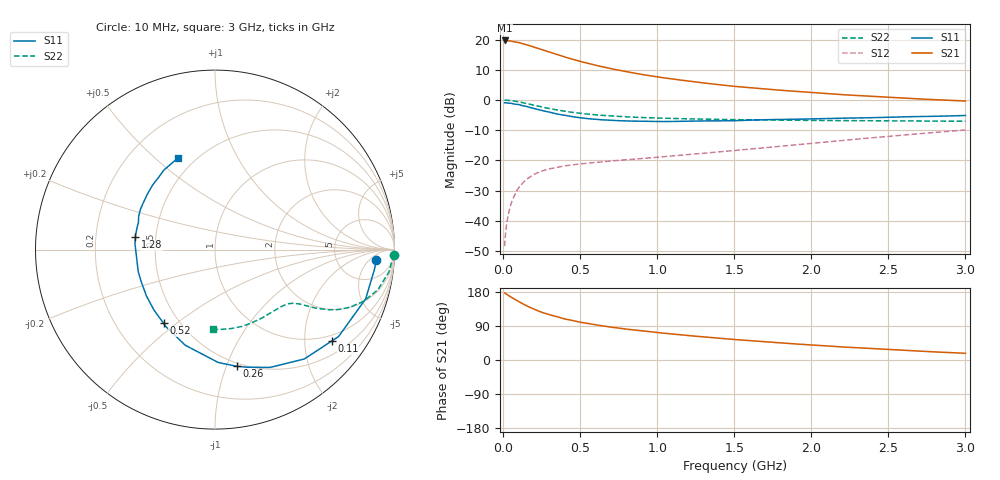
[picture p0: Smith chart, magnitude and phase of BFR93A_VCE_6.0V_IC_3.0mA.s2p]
! Infineon Technologies  Discrete & RF Semiconductors
! BFR93A
! VCE =  6.0 V,  IC =  3.0 mA
! Common Emitter S-Parameters:  Nov 2015
# GHz  S  MA  R  50
!  f  S11  S21  S12  S22
! GHz  MAG  ANG  MAG  ANG  MAG  ANG  MAG  ANG
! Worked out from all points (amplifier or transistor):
!   180 points, 10 MHz to 3 GHz, reference 50 ohm
!   highest |S21| = 19.7 dB at 10 MHz (marker M1)
!   |S21| within 3 dB of that: start of sweep to 249.1 MHz
!   unconditionally stable (mu >= 1): 894.4 MHz to 2.506 GHz
!   at 160 MHz: K = 0.24, MSG = 22.1 dB, |S12| = -26.0 dB
!   at 1.22 GHz: K = 1.12, MAG = 10.0 dB, |S12| = -18.0 dB
!   at 3 GHz: K = 0.91, MSG = 4.8 dB, |S12| = -10.0 dB
!   S11 on the Smith chart (normalised r, x): 10 MHz: 14, -9; 110 MHz: 0.83, -2.67; 260 MHz: 0.47, -1.09; 520 MHz: 0.41, -0.45; 1.28 GHz: 0.38, +0.07; 3 GHz: 0.41, +0.60
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0.01  0.9005 -3.7  9.653 177.1  0.0038 89.6  0.9949 -1.6
0.025  0.8909 -8.9  9.585 173.0  0.0094 83.8  0.9884 -3.7
0.05  0.8832 -18.1  9.442 166.3  0.0185 80.2  0.9767 -7.4
0.1  0.8419 -35.1  8.939 154.4  0.0349 71.7  0.9342 -13.9
0.11  0.8261 -38.1  8.775 152.3  0.0375 69.7  0.922 -14.9
0.15  0.7866 -50.8  8.246 143.2  0.0481 63.8  0.8763 -19.2
0.185  0.7384 -60.4  7.725 136.9  0.0554 59.7  0.836 -21.8
0.2  0.7247 -64.9  7.532 134.0  0.0586 58.2  0.8193 -23.0
0.26  0.6614 -79.4  6.693 124.6  0.0676 53.0  0.7558 -26.3
0.3  0.6296 -88.3  6.199 119.3  0.0723 50.6  0.7191 -27.8
0.4  0.558 -107.3  5.128 108.3  0.0811 46.7  0.6481 -30.2
0.5  0.5091 -122.4  4.342 99.7  0.0874 44.8  0.6003 -31.5
0.52  0.501 -124.9  4.219 98.5  0.0884 44.7  0.5935 -31.7
0.6  0.4784 -135.4  3.75 92.7  0.0925 44.5  0.5663 -32.5
0.7  0.461 -146.1  3.291 86.7  0.0977 45.1  0.5432 -33.6
0.8  0.4495 -155.5  2.935 81.4  0.1022 46.1  0.5254 -34.7
1.02  0.439 -172.7  2.368 71.7  0.1137 48.8  0.5004 -37.6
1.28  0.4489 171.1  1.942 61.6  0.1296 52.3  0.4824 -42.4
1.52  0.4547 159.7  1.663 53.5  0.1471 55.1  0.4715 -47.5
2.02  0.4873 140.6  1.314 39.2  0.1932 58.3  0.458 -60.0
2.52  0.5188 125.1  1.098 27.5  0.2524 57.8  0.4509 -74.7
3  0.5521 111.7  0.96 17.7  0.318 54.5  0.4451 -91.3
